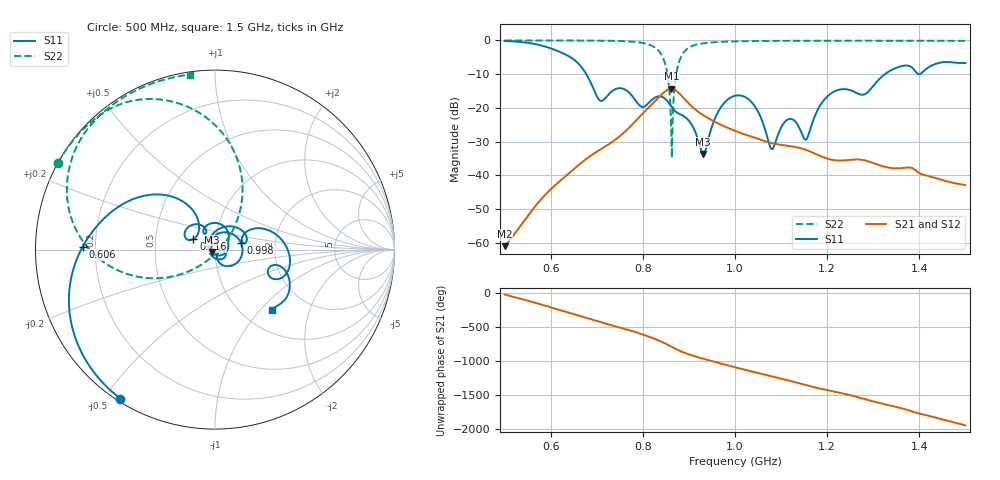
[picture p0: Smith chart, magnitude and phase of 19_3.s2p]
! TOUCHSTONE file generated by CST MICROWAVE STUDIO
! Date and time: Fri Oct  2 16:38:18 2020
! Project name: Scenario_1_Free_Space_out_of_line.cst
! Parameters = {Lambda=346.42; Step_1=17.321; dy1=35.502; dx1=520; L_HA=400; MT=2.54; Rad_Dielectric=30; Rad_Lower=7.3; Rad_Upper=30; a_HA=580; a_WG=246; b_HA=500; b_WG=121; c_HA=0; c_WG=187; d_feed=85; h_feed=15; h_lower=18; h_upper=40}
! Header version: 2018
! Port assignment regex: !\s*Touchstone port\s*([0-9]+)\s*=\s*(CST MWS port|CST DS port)\s*([0-9]+|Zmin|Zmax)\s*\(\"(.*)\"\)(\s*mode\s*([0-9]+))?.*
! Touchstone port assignment:
! Touchstone port 1 = CST MWS port 1 ("")
! Touchstone port 2 = CST MWS port 2 ("")
# GHz S DB R 50
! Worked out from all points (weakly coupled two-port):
!   1003 points, 500 MHz to 1.5 GHz, reference 50 ohm
!   highest |S21| = -14.33 dB at 862 MHz (marker M1); lowest = -61.0 dB at 500 MHz (marker M2)
!   lowest |S11| = -33.7 dB at 931 MHz (marker M3), VSWR 1.04, Z = 48.4 - j1.32 ohm
!   |S11| at or under -10 dB: 677.4 MHz to 1.325 GHz (647.9 MHz wide, 64.7 % of centre)
!   |S22| runs from -34.8 to 0.0 dB; largest |S21 - S12| = 3.7e-06
!   S11 on the Smith chart (normalised r, x): 500 MHz: 0.01, -0.55; 606 MHz: 0.15, +0.01; 716 MHz: 0.78, +0.09; 998 MHz: 1.34, +0.10; 1.5 GHz: 1.36, -1.16
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0.5  -0.15 -122.4  -60.97 -18.1  -60.97 -18.1  -0.01 151.2
0.606  -2.64 178.8  -43.39 141.4  -43.39 141.4  -0.02 143.7
0.667  -7.92 131.4  -36.21 19.9  -36.21 19.9  -0.04 138.4
0.716  -17.49 154.7  -31.64 -79.5  -31.64 -79.5  -0.09 132.9
0.787  -18.30 114.4  -23.49 142.8  -23.49 142.8  -0.49 118.5
0.834  -16.57 95.0  -16.92 26.9  -16.92 26.9  -3.02 91.1
0.851  -17.62 61.0  -14.84 -26.0  -14.84 -26.0  -8.39 66.2
0.862  -19.60 42.8  -14.33 -65.3  -14.33 -65.3  -29.03 17.2
0.883  -22.03 19.7  -16.28 -135.6  -16.28 -135.6  -4.87 -169.3
0.931  -33.68 -138.9  -22.14 117.6  -22.14 117.6  -0.86 155.3
0.964  -21.01 80.2  -24.64 56.0  -24.64 56.0  -0.46 146.8
0.998  -16.47 13.4  -26.69 -4.4  -26.69 -4.4  -0.29 141.0
1  -16.40 9.8  -26.79 -7.8  -26.79 -7.8  -0.28 140.8
1.042  -19.31 -57.7  -28.81 -80.0  -28.81 -80.0  -0.19 135.6
1.08  -32.22 -40.2  -30.46 -142.6  -30.46 -142.6  -0.14 131.8
1.114  -23.49 -26.0  -31.21 161.3  -31.21 161.3  -0.12 128.7
1.152  -29.35 -149.7  -32.34 93.2  -32.34 93.2  -0.10 125.6
1.167  -24.80 126.4  -33.15 66.8  -33.15 66.8  -0.10 124.4
1.209  -15.65 50.7  -35.33 2.5  -35.33 2.5  -0.09 121.1
1.281  -15.96 20.9  -35.53 -116.5  -35.53 -116.5  -0.09 115.7
1.334  -9.20 14.6  -37.70 153.3  -37.70 153.3  -0.09 111.7
1.5  -6.70 -46.6  -42.90 -144.8  -42.90 -144.8  -0.14 98.1
